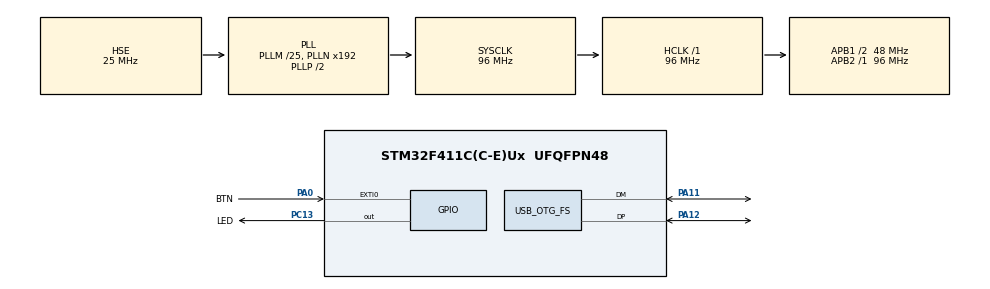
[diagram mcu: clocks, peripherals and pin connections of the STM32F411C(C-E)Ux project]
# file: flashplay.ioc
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Mcu.Family=STM32F4
USB_DEVICE.CLASS_NAME_FS=CDC
RCC.CortexFreq_Value=96000000
USB_DEVICE.VirtualModeFS=Cdc_FS
PC13-ANTI_TAMP.GPIO_Label=LED
PH1\ -\ OSC_OUT.Mode=HSE-External-Oscillator
PA11.Mode=Device_Only
RCC.APB1CLKDivider=RCC_HCLK_DIV2
PA0-WKUP.GPIO_ModeDefaultEXTI=GPIO_MODE_IT_RISING_FALLING
PC13-ANTI_TAMP.PinState=GPIO_PIN_SET
RCC.SYSCLKSource=RCC_SYSCLKSOURCE_PLLCLK
ProjectManager.StackSize=0x400
PA0-WKUP.GPIO_Label=BTN
PA0-WKUP.Signal=GPXTI0
PA13.Signal=SYS_JTMS-SWDIO
PA12.Signal=USB_OTG_FS_DP
PH0\ -\ OSC_IN.Mode=HSE-External-Oscillator
PH0\ -\ OSC_IN.Signal=RCC_OSC_IN
ProjectManager.TargetToolchain=STM32CubeIDE
RCC.HCLKFreq_Value=96000000
VP_USB_DEVICE_VS_USB_DEVICE_CDC_FS.Mode=CDC_FS
RCC.APB2TimFreq_Value=96000000
RCC.LSE_VALUE=32768
RCC.AHBFreq_Value=96000000
RCC.HSE_VALUE=25000000
PH1\ -\ OSC_OUT.Signal=RCC_OSC_OUT
board=custom
PC13-ANTI_TAMP.Signal=GPIO_Output
RCC.VCOOutputFreq_Value=192000000
PC13-ANTI_TAMP.GPIO_ModeDefaultOutputPP=GPIO_MODE_OUTPUT_OD
RCC.APB2Freq_Value=96000000
PA14.Mode=Serial_Wire
PA13.Mode=Serial_Wire
Mcu.Name=STM32F411C(C-E)Ux
RCC.48MHZClocksFreq_Value=48000000
RCC.SYSCLKFreq_VALUE=96000000
Mcu.Package=UFQFPN48
PA12.Mode=Device_Only
NVIC.OTG_FS_IRQn=true\:0\:0\:false\:false\:true\:false\:true
PA11.Signal=USB_OTG_FS_DM
PA14.Signal=SYS_JTCK-SWCLK
USB_OTG_FS.VirtualMode=Device_Only
ProjectManager.HeapSize=0x200
RCC.HSI_VALUE=16000000
NVIC.PriorityGroup=NVIC_PRIORITYGROUP_4
RCC.PLLM=25
RCC.APB1TimFreq_Value=96000000
PA0-WKUP.GPIO_PuPd=GPIO_PULLUP
RCC.APB1Freq_Value=48000000
USB_DEVICE.VirtualMode=Cdc

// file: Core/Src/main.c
/* USER CODE BEGIN Header */
/**
  ******************************************************************************
  * @file           : main.c
  * @brief          : Main program body
  ******************************************************************************
  * @attention
  *
  * <h2><center>&copy; Copyright (c) 2021 STMicroelectronics.
  * All rights reserved.</center></h2>
  *
  * This software component is licensed by ST under BSD 3-Clause license,
  * the "License"; You may not use this file except in compliance with the
  * License. You may obtain a copy of the License at:
  *                        opensource.org/licenses/BSD-3-Clause
  *
  ******************************************************************************
  */
/* USER CODE END Header */
#include "main.h"
#include "usb_device.h"

/* USER CODE BEGIN Includes */
#include "usbd_cdc_if.h"
#include "flash.h"
#include "stdio.h"
/* USER CODE END Includes */

/* USER CODE BEGIN PV */
extern uint32_t _lfs_begin;
/* USER CODE END PV */

void SystemClock_Config(void);
static void MX_GPIO_Init(void);

/* USER CODE BEGIN 0 */
int _write(int file, char *ptr, int len) {
	CDC_Transmit_FS((uint8_t *)ptr, len);
    return len;
}

void HAL_GPIO_EXTI_Callback(uint16_t GPIO_Pin) {
	if (GPIO_Pin == BTN_Pin) // If the button
	{
		GPIO_PinState pinState = HAL_GPIO_ReadPin(BTN_GPIO_Port, BTN_Pin);
		if (pinState == GPIO_PIN_RESET) {

		} else {

		}

	}
}
/* USER CODE END 0 */

int main(void)
{

  /* MCU Configuration--------------------------------------------------------*/

  /* Reset of all peripherals, Initializes the Flash interface and the Systick. */
  HAL_Init();

  /* Configure the system clock */
  SystemClock_Config();

  /* Initialize all configured peripherals */
  MX_GPIO_Init();
  MX_USB_DEVICE_Init();
  /* USER CODE BEGIN 2 */

  HAL_Delay(3000); // Time to connect a terminal

  uint32_t *boot_count = _lfs_begin;

  if (boot_count == 0xFFFFFFFF) boot_count = 1;
  else boot_count = boot_count + 1;

  printf("LFS Begin = %8x - boot count = %lu\n", &_lfs_begin, boot_count);

  HAL_FLASH_Unlock(); // Unlock the flash

  flash_initialize();
  flash_erase(_lfs_begin);
  flash_write(boot_count, &_lfs_begin, 1);

  /* USER CODE END 2 */

  /* Infinite loop */
  /* USER CODE BEGIN WHILE */

  uint32_t last_led_toggle = 0, last_tick_print = 0, now = 0;

  while (1)
  {

	  now = HAL_GetTick();

	  if (now - last_led_toggle >= 500) {

		  HAL_GPIO_TogglePin(LED_GPIO_Port, LED_Pin);

		  last_led_toggle = now;
	  }

	  if (now - last_tick_print >= 1000) {

		  printf("Tick %lu\n", now / 1000);

		  last_tick_print = now;
	  }

    /* USER CODE END WHILE */

  }
}

void SystemClock_Config(void)
{
  RCC_OscInitTypeDef RCC_OscInitStruct = {0};
  RCC_ClkInitTypeDef RCC_ClkInitStruct = {0};

  /** Configure the main internal regulator output voltage
  */
  __HAL_RCC_PWR_CLK_ENABLE();
  __HAL_PWR_VOLTAGESCALING_CONFIG(PWR_REGULATOR_VOLTAGE_SCALE1);
  /** Initializes the RCC Oscillators according to the specified parameters
  * in the RCC_OscInitTypeDef structure.
  */
  RCC_OscInitStruct.OscillatorType = RCC_OSCILLATORTYPE_HSE;
  RCC_OscInitStruct.HSEState = RCC_HSE_ON;
  RCC_OscInitStruct.PLL.PLLState = RCC_PLL_ON;
  RCC_OscInitStruct.PLL.PLLSource = RCC_PLLSOURCE_HSE;
  RCC_OscInitStruct.PLL.PLLM = 25;
  RCC_OscInitStruct.PLL.PLLN = 192;
  RCC_OscInitStruct.PLL.PLLP = RCC_PLLP_DIV2;
  RCC_OscInitStruct.PLL.PLLQ = 4;
  if (HAL_RCC_OscConfig(&RCC_OscInitStruct) != HAL_OK)
  {
    Error_Handler();
  }
  /** Initializes the CPU, AHB and APB buses clocks
  */
  RCC_ClkInitStruct.ClockType = RCC_CLOCKTYPE_HCLK|RCC_CLOCKTYPE_SYSCLK
                              |RCC_CLOCKTYPE_PCLK1|RCC_CLOCKTYPE_PCLK2;
  RCC_ClkInitStruct.SYSCLKSource = RCC_SYSCLKSOURCE_PLLCLK;
  RCC_ClkInitStruct.AHBCLKDivider = RCC_SYSCLK_DIV1;
  RCC_ClkInitStruct.APB1CLKDivider = RCC_HCLK_DIV2;
  RCC_ClkInitStruct.APB2CLKDivider = RCC_HCLK_DIV1;

  if (HAL_RCC_ClockConfig(&RCC_ClkInitStruct, FLASH_LATENCY_3) != HAL_OK)
  {
    Error_Handler();
  }
}

static void MX_GPIO_Init(void)
{
  GPIO_InitTypeDef GPIO_InitStruct = {0};

  /* GPIO Ports Clock Enable */
  __HAL_RCC_GPIOC_CLK_ENABLE();
  __HAL_RCC_GPIOH_CLK_ENABLE();
  __HAL_RCC_GPIOA_CLK_ENABLE();

  /*Configure GPIO pin Output Level */
  HAL_GPIO_WritePin(LED_GPIO_Port, LED_Pin, GPIO_PIN_SET);

  /*Configure GPIO pin : LED_Pin */
  GPIO_InitStruct.Pin = LED_Pin;
  GPIO_InitStruct.Mode = GPIO_MODE_OUTPUT_OD;
  GPIO_InitStruct.Pull = GPIO_NOPULL;
  GPIO_InitStruct.Speed = GPIO_SPEED_FREQ_LOW;
  HAL_GPIO_Init(LED_GPIO_Port, &GPIO_InitStruct);

  /*Configure GPIO pin : BTN_Pin */
  GPIO_InitStruct.Pin = BTN_Pin;
  GPIO_InitStruct.Mode = GPIO_MODE_IT_RISING_FALLING;
  GPIO_InitStruct.Pull = GPIO_PULLUP;
  HAL_GPIO_Init(BTN_GPIO_Port, &GPIO_InitStruct);

}

void Error_Handler(void)
{
  __disable_irq();
  while (1)
  {
  }
}

/************************ (C) COPYRIGHT STMicroelectronics *****END OF FILE****/
